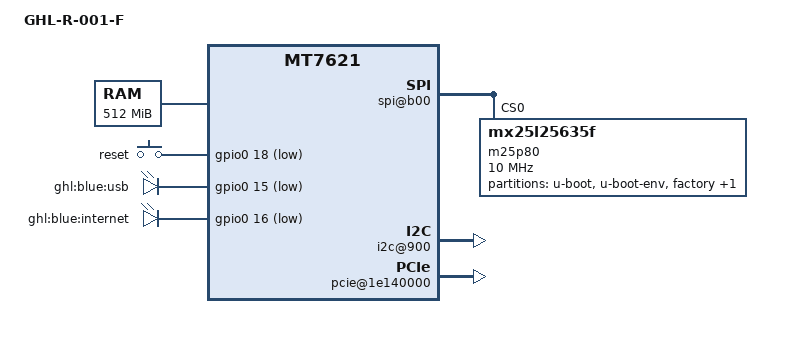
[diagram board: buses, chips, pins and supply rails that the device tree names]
/dts-v1/;

/include/ "mt7621.dtsi"

/ {
	compatible = "ghl-r-001-f", "mediatek,mt7621-soc";
	model = "GHL-R-001-F";

	memory@0 {
		device_type = "memory";
		reg = <0x0 0x1c000000>, <0x20000000 0x4000000>;
	};

	chosen {
		bootargs = "console=ttyS0,57600";
	};

	palmbus@1E000000 {
		spi@b00 {
			status = "okay";

			m25p80@0 {
				#address-cells = <1>;
				#size-cells = <1>;
				compatible = "mx25l25635f", "jedec,spi-nor";
				reg = <0 0>;
				spi-max-frequency = <10000000>;
				m25p,chunked-io = <32>;

				partition@0 {
					label = "u-boot";
					reg = <0x0 0x30000>;
				};

				partition@30000 {
					label = "u-boot-env";
					reg = <0x30000 0x10000>;
				};

				factory: partition@40000 {
					label = "factory";
					reg = <0x40000 0x10000>;
				};

				partition@50000 {
					label = "firmware";
					reg = <0x50000 0x1fb0000>;
				};

			};
		};
		i2c@900 {
			compatible = "ralink,i2c-mt7621";
			reg = <0x900 0x100>;
			#address-cells = <1>;
			#size-cells = <0>;
			pinctrl-names = "default";
			pinctrl-0 = <&i2c_pins>;
			status = "okay";
		};
	};

	pinctrl {
		state_default: pinctrl0 {
			gpio {
				ralink,group = "wdt", "rgmii2", "i2c", "mdio", "uart2", "uart3";
				ralink,function = "gpio";
			};
		};
	};

	ethernet@1e100000 {
		mtd-mac-address = <&factory 0xe000>;
	};

	pcie@1e140000 {
		status = "okay";

		pcie0 {
			mt76@0,0 {
				reg = <0x0000 0 0 0 0>;
				device_type = "pci";
				mediatek,mtd-eeprom = <&factory 0x0000>;
				mediatek,2ghz = <0>;
			};
		};

		pcie1 {
			mt76@1,0 {
				reg = <0x0000 0 0 0 0>;
				device_type = "pci";
				mediatek,mtd-eeprom = <&factory 0x8000>;
				mediatek,5ghz = <0>;

				led {
					led-sources = <2>;
					led-active-low;
				};
			};
		};
	};

	gpio-keys-polled {
		compatible = "gpio-keys-polled";
		#address-cells = <1>;
		#size-cells = <0>;
		poll-interval = <20>;
		reset {
			label = "reset";
			gpios = <&gpio0 18 1>;
			linux,code = <0x198>;
		};
	};

	gpio-leds {
		compatible = "gpio-leds";

		usb {
			label = "ghl:blue:usb";
			gpios = <&gpio0 15 1>;
		};

		internet {
			label = "ghl:blue:internet";
			gpios = <&gpio0 16 1>;
		};
	};

};
